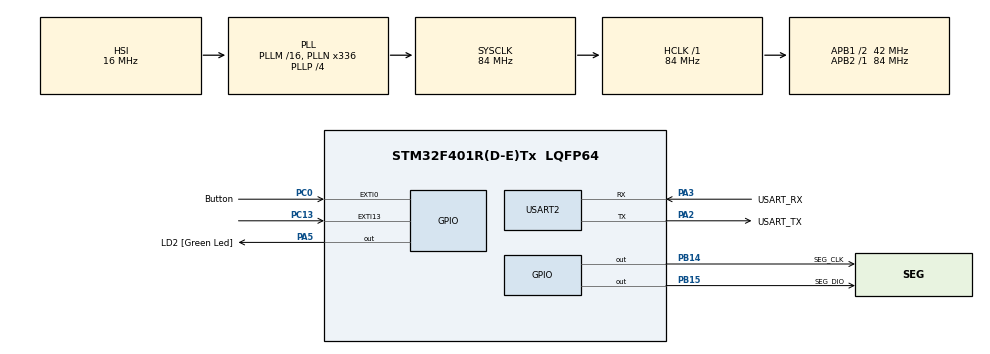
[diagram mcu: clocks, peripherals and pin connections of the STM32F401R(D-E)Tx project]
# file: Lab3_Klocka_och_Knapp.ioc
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Mcu.Family=STM32F4
Mcu.Name=STM32F401R(D-E)Tx
Mcu.Package=LQFP64
NVIC.EXTI0_IRQn=true\:0\:0\:false\:false\:true\:true\:true\:true
NVIC.PriorityGroup=NVIC_PRIORITYGROUP_0
NVIC.TIM1_BRK_TIM9_IRQn=true\:0\:0\:false\:false\:true\:true\:true\:true
PA13.GPIO_Label=TMS
PA13.Mode=Serial_Wire
PA13.Signal=SYS_JTMS-SWDIO
PA14.GPIO_Label=TCK
PA14.Mode=Serial_Wire
PA14.Signal=SYS_JTCK-SWCLK
PA2.GPIO_Label=USART_TX
PA2.GPIO_Mode=GPIO_MODE_AF_PP
PA2.GPIO_PuPd=GPIO_NOPULL
PA2.GPIO_Speed=GPIO_SPEED_FREQ_LOW
PA2.Mode=Asynchronous
PA2.Signal=USART2_TX
PA3.GPIO_Label=USART_RX
PA3.GPIO_Mode=GPIO_MODE_AF_PP
PA3.GPIO_PuPd=GPIO_NOPULL
PA3.GPIO_Speed=GPIO_SPEED_FREQ_LOW
PA3.Mode=Asynchronous
PA3.Signal=USART2_RX
PA5.GPIO_Label=LD2 [Green Led]
PA5.GPIO_Mode=GPIO_MODE_OUTPUT_PP
PA5.GPIO_PuPd=GPIO_NOPULL
PA5.GPIO_Speed=GPIO_SPEED_FREQ_LOW
PA5.Signal=GPIO_Output
PB14.GPIO_Label=SEG_CLK
PB14.Signal=GPIO_Output
PB15.GPIO_Label=SEG_DIO
PB15.GPIO_ModeDefaultOutputPP=GPIO_MODE_OUTPUT_OD
PB15.GPIO_PuPd=GPIO_NOPULL
PB15.Signal=GPIO_Output
PB3.GPIO_Label=SWO
PB3.Signal=SYS_JTDO-SWO
PC0.GPIO_Label=Button
PC0.GPIO_ModeDefaultEXTI=GPIO_MODE_IT_FALLING
PC0.Signal=GPXTI0
PC13-ANTI_TAMP.GPIO_ModeDefaultEXTI=GPIO_MODE_IT_FALLING
PC13-ANTI_TAMP.GPIO_PuPd=GPIO_NOPULL
PC13-ANTI_TAMP.Signal=GPXTI13
PC14-OSC32_IN.Mode=LSE-External-Oscillator
PC14-OSC32_IN.Signal=RCC_OSC32_IN
PC15-OSC32_OUT.Mode=LSE-External-Oscillator
PC15-OSC32_OUT.Signal=RCC_OSC32_OUT
PH0\ -\ OSC_IN.Mode=HSE-External-Clock-Source
PH0\ -\ OSC_IN.Signal=RCC_OSC_IN
PH1\ -\ OSC_OUT.Mode=HSE-External-Clock-Source
PH1\ -\ OSC_OUT.Signal=RCC_OSC_OUT
ProjectManager.HeapSize=0x200
ProjectManager.StackSize=0x400
ProjectManager.TargetToolchain=STM32CubeIDE
RCC.48MHZClocksFreq_Value=48000000
RCC.AHBFreq_Value=84000000
RCC.APB1CLKDivider=RCC_HCLK_DIV2
RCC.APB1Freq_Value=42000000
RCC.APB1TimFreq_Value=84000000
RCC.APB2Freq_Value=84000000
RCC.APB2TimFreq_Value=84000000
RCC.CortexFreq_Value=84000000
RCC.HCLKFreq_Value=84000000
RCC.HSE_VALUE=8000000
RCC.HSI_VALUE=16000000
RCC.PLLN=336
RCC.PLLP=RCC_PLLP_DIV4
RCC.PLLQ=7
RCC.SYSCLKFreq_VALUE=84000000
RCC.SYSCLKSource=RCC_SYSCLKSOURCE_PLLCLK
RCC.VCOOutputFreq_Value=336000000
TIM9.Period=41999
TIM9.Prescaler=1000
USART2.VirtualMode=VM_ASYNC
VP_TIM9_VS_ClockSourceINT.Mode=Internal
board=NUCLEO-F401RE

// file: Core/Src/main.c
/* USER CODE BEGIN Header */
/**
  ******************************************************************************
  * @file           : main.c
  * @brief          : Main program body
  ******************************************************************************
  * @attention
  *
  * Copyright (c) 2024 STMicroelectronics.
  * All rights reserved.
  *
  * This software is licensed under terms that can be found in the LICENSE file
  * in the root directory of this software component.
  * If no LICENSE file comes with this software, it is provided AS-IS.
  *
  ******************************************************************************
  */
/* USER CODE END Header */
#include "main.h"

/* USER CODE BEGIN Includes */
#include <stdio.h>
#include <string.h>
#include "quad_sseg.h"
/* USER CODE END Includes */

TIM_HandleTypeDef htim9;

UART_HandleTypeDef huart2;

/* USER CODE BEGIN PV */

uint16_t unhandled_exti;
uint32_t last_flank_causing_exti;
int b1_pressed;
int pressed;
uint32_t last_managed_exti = 0;
uint32_t last_flank_causing_exti = 0;
uint32_t button_exti_count = 0;
uint32_t button_debounced_count = 0;

uint8_t secondsOnes = 0;
uint8_t secondsTens = 4;
uint8_t minutesOnes = 9;
uint8_t minutesTens = 5;
uint8_t hoursOnes = 3;
uint8_t hoursTens = 2;
uint8_t colonFlicker = 0;
int freq_counter = 0;
/* USER CODE END PV */

void SystemClock_Config(void);
static void MX_GPIO_Init(void);
static void MX_USART2_UART_Init(void);
static void MX_TIM9_Init(void);

/* USER CODE BEGIN 0 */

void uart_print_menu(){
	  char str[75];

	sprintf(str,"Choose an option: \r\n"
			"Enter 1 for Clock mode.\r\n"
			"Enter 2 for Button mode.\r\n");

	  HAL_UART_Transmit(&huart2, (uint8_t *) str, strlen(str), HAL_MAX_DELAY);

}

int uart_get_menu_choice()
 {
	  char str[1] = { '\0'};
	  uint16_t str_len = 1;
	  HAL_UART_Receive(&huart2, (uint8_t *) str, str_len, HAL_MAX_DELAY);
	  int ret = -1;
	  sscanf(str, "%d", &ret);
	  return ret;
 }

void uart_print_bad_choice() {
		char str[50];
		sprintf(str, "Invalid input. Try again. Choose 1 or 2.\r\n\n");
		HAL_UART_Transmit(&huart2, (uint8_t *) str, strlen(str), HAL_MAX_DELAY);
}

void clock_mode()
{
/*** init segment ***/
	HAL_TIM_Base_Start_IT(&htim9);

/*** main loop ***/
	while (1)
	{
		b1_pressed = GPIO_PIN_RESET == HAL_GPIO_ReadPin(GPIOC, GPIO_PIN_13);

		if (b1_pressed) {
			qs_put_digits(hoursTens, hoursOnes, minutesTens, minutesOnes, colonFlicker);
		}
		else {
			qs_put_digits(minutesTens, minutesOnes, secondsTens, secondsOnes, colonFlicker);
		}

	}
}

void button_mode()
{
/*** init segment ***/

/*** main loop ***/
	while (1)
	{
		/* deal with debouncing the button... */
		/*if (1) // For initial testing
		{
		button_debounced_count = button_exti_count;
		}*/

		uint32_t current_tick = HAL_GetTick();

		b1_pressed = GPIO_PIN_RESET == HAL_GPIO_ReadPin(GPIOC, GPIO_PIN_13); // check b1 button (on board, active low)
		qs_put_big_num(b1_pressed ? button_exti_count : button_debounced_count);

		if (unhandled_exti && (last_flank_causing_exti != last_managed_exti)) // was set in interrupt
		{
			if(current_tick - last_flank_causing_exti >= 50) {

				pressed = GPIO_PIN_RESET == HAL_GPIO_ReadPin(GPIOC, GPIO_PIN_0);

				if (pressed) {
					button_debounced_count++;
				}

				last_managed_exti = last_flank_causing_exti;
			}

		unhandled_exti = 0;
		}
	}
}

void HAL_GPIO_EXTI_Callback(uint16_t GPIO_Pin) {

	if (GPIO_Pin == GPIO_PIN_0) {

	last_flank_causing_exti = HAL_GetTick();
	unhandled_exti = 1; //sätter till 1 för att flagga unhandled_exit
	button_exti_count++;
	}
}

void HAL_TIM_PeriodElapsedCallback(TIM_HandleTypeDef *htim){
	freq_counter++;
	colonFlicker = 1;

	if (freq_counter >= 2){
		freq_counter = 0;
		colonFlicker = 0;
		secondsOnes++;
	}
	if (secondsOnes > 9){
		secondsOnes = 0;
		secondsTens++;
	}
	if (secondsTens > 5){
		secondsTens = 0;
		minutesOnes++;
	}
	if (minutesOnes > 9){
		minutesOnes = 0;
		minutesTens++;
	}
	if (minutesTens > 5){
		minutesTens = 0;
		hoursOnes++;
	}
	if(hoursOnes > 9){
		hoursOnes = 0;
		hoursTens++;
	}
	if((hoursOnes == 4) & (hoursTens == 2)){
		hoursOnes = 0;
		hoursTens = 0;
	}

}

/* USER CODE END 0 */

int main(void)
{

  /* MCU Configuration--------------------------------------------------------*/

  /* Reset of all peripherals, Initializes the Flash interface and the Systick. */
  HAL_Init();

  /* Configure the system clock */
  SystemClock_Config();

  /* Initialize all configured peripherals */
  MX_GPIO_Init();
  MX_USART2_UART_Init();
  MX_TIM9_Init();

  /* Infinite loop */
  /* USER CODE BEGIN WHILE */
  while (1)
  {

	 uart_print_menu();
	 int menu_choice = uart_get_menu_choice();

	  {
		  switch (menu_choice)
		  {
		  case 1:
			  clock_mode();
			  break;

		  case 2:
			  button_mode();
			  break;

		  default:
			  uart_print_bad_choice();
			  break;
		  }
	  }

	  /*//Display testing code------
	  for (int i = 0; i < 10; i++)
	  {
	  uint32_t dly = 250;
	  qs_put_big_num(i);
	  HAL_Delay(dly);
	  qs_put_digits(i, i, i, i, 0);
	  HAL_Delay(dly);
	  qs_put_digits(i, i, i, i, 1);
	  HAL_Delay(dly);
	  }
	  //--------------------------*/

    /* USER CODE END WHILE */

  }
}

void SystemClock_Config(void)
{
  RCC_OscInitTypeDef RCC_OscInitStruct = {0};
  RCC_ClkInitTypeDef RCC_ClkInitStruct = {0};

  /** Configure the main internal regulator output voltage
  */
  __HAL_RCC_PWR_CLK_ENABLE();
  __HAL_PWR_VOLTAGESCALING_CONFIG(PWR_REGULATOR_VOLTAGE_SCALE2);

  /** Initializes the RCC Oscillators according to the specified parameters
  * in the RCC_OscInitTypeDef structure.
  */
  RCC_OscInitStruct.OscillatorType = RCC_OSCILLATORTYPE_HSI;
  RCC_OscInitStruct.HSIState = RCC_HSI_ON;
  RCC_OscInitStruct.HSICalibrationValue = RCC_HSICALIBRATION_DEFAULT;
  RCC_OscInitStruct.PLL.PLLState = RCC_PLL_ON;
  RCC_OscInitStruct.PLL.PLLSource = RCC_PLLSOURCE_HSI;
  RCC_OscInitStruct.PLL.PLLM = 16;
  RCC_OscInitStruct.PLL.PLLN = 336;
  RCC_OscInitStruct.PLL.PLLP = RCC_PLLP_DIV4;
  RCC_OscInitStruct.PLL.PLLQ = 7;
  if (HAL_RCC_OscConfig(&RCC_OscInitStruct) != HAL_OK)
  {
    Error_Handler();
  }

  /** Initializes the CPU, AHB and APB buses clocks
  */
  RCC_ClkInitStruct.ClockType = RCC_CLOCKTYPE_HCLK|RCC_CLOCKTYPE_SYSCLK
                              |RCC_CLOCKTYPE_PCLK1|RCC_CLOCKTYPE_PCLK2;
  RCC_ClkInitStruct.SYSCLKSource = RCC_SYSCLKSOURCE_PLLCLK;
  RCC_ClkInitStruct.AHBCLKDivider = RCC_SYSCLK_DIV1;
  RCC_ClkInitStruct.APB1CLKDivider = RCC_HCLK_DIV2;
  RCC_ClkInitStruct.APB2CLKDivider = RCC_HCLK_DIV1;

  if (HAL_RCC_ClockConfig(&RCC_ClkInitStruct, FLASH_LATENCY_2) != HAL_OK)
  {
    Error_Handler();
  }
}

static void MX_TIM9_Init(void)
{

  TIM_ClockConfigTypeDef sClockSourceConfig = {0};

  htim9.Instance = TIM9;
  htim9.Init.Prescaler = 1000;
  htim9.Init.CounterMode = TIM_COUNTERMODE_UP;
  htim9.Init.Period = 41999;
  htim9.Init.ClockDivision = TIM_CLOCKDIVISION_DIV1;
  htim9.Init.AutoReloadPreload = TIM_AUTORELOAD_PRELOAD_DISABLE;
  if (HAL_TIM_Base_Init(&htim9) != HAL_OK)
  {
    Error_Handler();
  }
  sClockSourceConfig.ClockSource = TIM_CLOCKSOURCE_INTERNAL;
  if (HAL_TIM_ConfigClockSource(&htim9, &sClockSourceConfig) != HAL_OK)
  {
    Error_Handler();
  }

}

static void MX_USART2_UART_Init(void)
{

  huart2.Instance = USART2;
  huart2.Init.BaudRate = 115200;
  huart2.Init.WordLength = UART_WORDLENGTH_8B;
  huart2.Init.StopBits = UART_STOPBITS_1;
  huart2.Init.Parity = UART_PARITY_NONE;
  huart2.Init.Mode = UART_MODE_TX_RX;
  huart2.Init.HwFlowCtl = UART_HWCONTROL_NONE;
  huart2.Init.OverSampling = UART_OVERSAMPLING_16;
  if (HAL_UART_Init(&huart2) != HAL_OK)
  {
    Error_Handler();
  }

}

static void MX_GPIO_Init(void)
{
  GPIO_InitTypeDef GPIO_InitStruct = {0};

  /* GPIO Ports Clock Enable */
  __HAL_RCC_GPIOC_CLK_ENABLE();
  __HAL_RCC_GPIOH_CLK_ENABLE();
  __HAL_RCC_GPIOA_CLK_ENABLE();
  __HAL_RCC_GPIOB_CLK_ENABLE();

  /*Configure GPIO pin Output Level */
  HAL_GPIO_WritePin(LD2_GPIO_Port, LD2_Pin, GPIO_PIN_RESET);

  /*Configure GPIO pin Output Level */
  HAL_GPIO_WritePin(GPIOB, SEG_CLK_Pin|SEG_DIO_Pin, GPIO_PIN_RESET);

  /*Configure GPIO pins : PC13 Button_Pin */
  GPIO_InitStruct.Pin = GPIO_PIN_13|Button_Pin;
  GPIO_InitStruct.Mode = GPIO_MODE_IT_FALLING;
  GPIO_InitStruct.Pull = GPIO_NOPULL;
  HAL_GPIO_Init(GPIOC, &GPIO_InitStruct);

  /*Configure GPIO pin : LD2_Pin */
  GPIO_InitStruct.Pin = LD2_Pin;
  GPIO_InitStruct.Mode = GPIO_MODE_OUTPUT_PP;
  GPIO_InitStruct.Pull = GPIO_NOPULL;
  GPIO_InitStruct.Speed = GPIO_SPEED_FREQ_LOW;
  HAL_GPIO_Init(LD2_GPIO_Port, &GPIO_InitStruct);

  /*Configure GPIO pin : SEG_CLK_Pin */
  GPIO_InitStruct.Pin = SEG_CLK_Pin;
  GPIO_InitStruct.Mode = GPIO_MODE_OUTPUT_PP;
  GPIO_InitStruct.Pull = GPIO_NOPULL;
  GPIO_InitStruct.Speed = GPIO_SPEED_FREQ_LOW;
  HAL_GPIO_Init(SEG_CLK_GPIO_Port, &GPIO_InitStruct);

  /*Configure GPIO pin : SEG_DIO_Pin */
  GPIO_InitStruct.Pin = SEG_DIO_Pin;
  GPIO_InitStruct.Mode = GPIO_MODE_OUTPUT_OD;
  GPIO_InitStruct.Pull = GPIO_NOPULL;
  GPIO_InitStruct.Speed = GPIO_SPEED_FREQ_LOW;
  HAL_GPIO_Init(SEG_DIO_GPIO_Port, &GPIO_InitStruct);

  /* EXTI interrupt init*/
  HAL_NVIC_SetPriority(EXTI0_IRQn, 0, 0);
  HAL_NVIC_EnableIRQ(EXTI0_IRQn);

}

void Error_Handler(void)
{
  __disable_irq();
  while (1)
  {
  }
}
